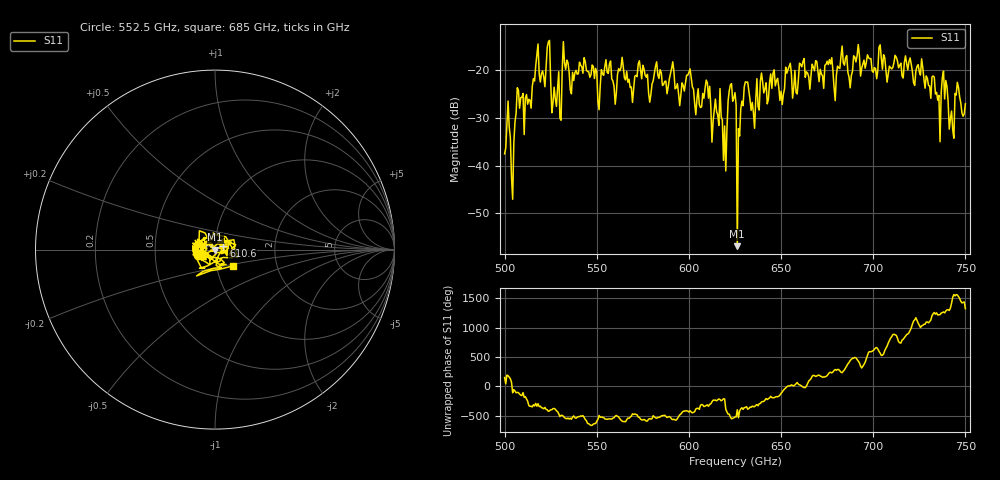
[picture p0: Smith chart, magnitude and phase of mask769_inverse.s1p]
!Created with skrf (http://scikit-rf.org).
# GHz S MA R 50.0
!freq magS11 angS11
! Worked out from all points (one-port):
!   401 points, 500 GHz to 750 GHz, reference 50 ohm
!   lowest |S11| = -56.9 dB at 626.2 GHz (marker M1), VSWR 1.00, Z = 50.1 - j0.0871 ohm
!   |S11| at or under -10 dB: start of sweep to end of sweep
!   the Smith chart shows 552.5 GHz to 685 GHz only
!   S11 on the Smith chart (normalised r, x): 552.5 GHz: 0.82, -0.05; 610.6 GHz: 1.10, +0.04; 685 GHz: 1.20, -0.22
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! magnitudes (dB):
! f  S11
! 500 GHz  -37.5
! 504.4 GHz  -47.1
! 507.5 GHz  -24.2
! 513.8 GHz  -26.3
! 516.9 GHz  -19.1
! 523.8 GHz  -14.1
! 526.9 GHz  -23.6
! 531.2 GHz  -20.1
! 533.1 GHz  -19.8
! 552.5 GHz  -19.9
! 562.5 GHz  -20.1
! 593.8 GHz  -22.8
! 610.6 GHz  -25.9
! 619.4 GHz  -31.7
! 623.8 GHz  -26.5
! 625 GHz  -24.7
! 626.2 GHz  -56.9
! 631.2 GHz  -22.5
! 635 GHz  -28.9
! 656.2 GHz  -25.9
! 685 GHz  -17.4
! 687.5 GHz  -23.7
! 718.8 GHz  -19.9
! 735 GHz  -26.3
! 738.8 GHz  -26.0
! 742.5 GHz  -28.6
! 745.6 GHz  -22.5
! 750 GHz  -27.0
